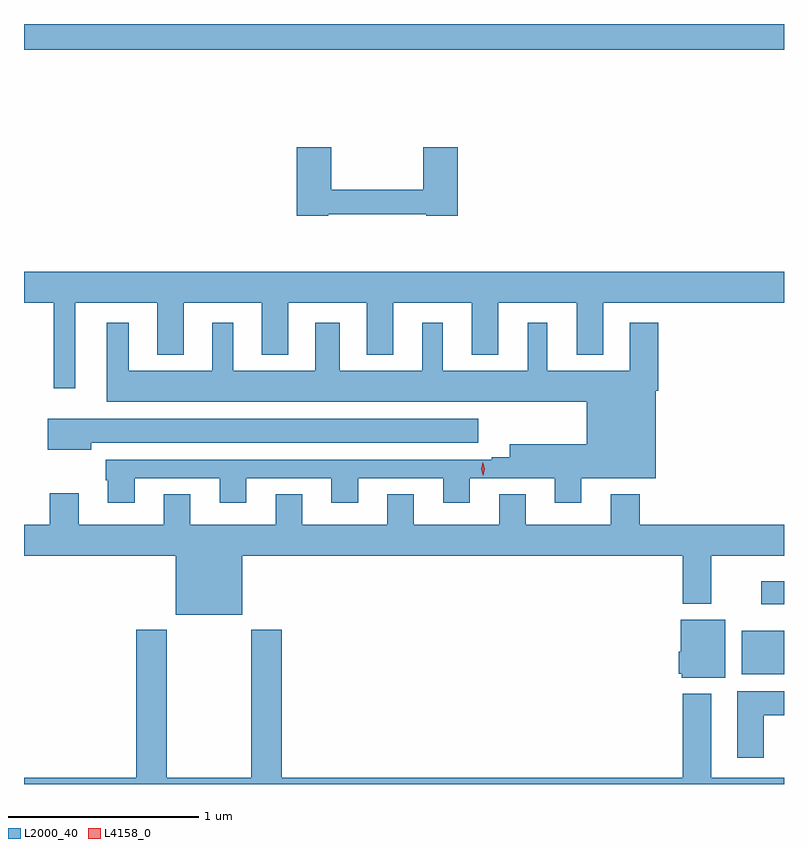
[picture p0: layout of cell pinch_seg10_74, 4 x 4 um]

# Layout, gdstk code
import gdstk
lib = gdstk.Library(unit=1e-6, precision=1e-09)
def R(c, l, rs):  # rectangles x0, y0, x1, y1
    for r in rs: c.add(gdstk.rectangle(r[:2], r[2:], *l))
def P(c, l, *ps):  # polygons
    for p in ps: c.add(gdstk.Polygon(p, *l))
L2000_40 = (2000, 40)
L4158_0 = (4158, 0)

pinch_seg10_74 = lib.new_cell('pinch_seg10_74')
R(pinch_seg10_74, L2000_40, [(816.359,1317.008,816.581,1317.238), (816.462,1317.377,816.581,1317.499), (812.581,1320.296,816.581,1320.431)])
P(pinch_seg10_74, L2000_40, [(814.182,1319.43),(814.698,1319.43),(814.698,1319.422),(814.865,1319.422),(814.865,1319.782),(814.682,1319.782),(814.682,1319.558),(814.199,1319.558),(814.199,1319.782),(814.016,1319.782),(814.016,1319.422),(814.182,1319.422)],
  [(812.851,1318.964),(813.281,1318.964),(813.281,1318.691),(813.421,1318.691),(813.421,1318.964),(813.833,1318.964),(813.833,1318.691),(813.973,1318.691),(813.973,1318.964),(814.385,1318.964),(814.385,1318.691),(814.525,1318.691),(814.525,1318.964),(814.937,1318.964),(814.937,1318.691),(815.077,1318.691),(815.077,1318.964),(815.489,1318.964),(815.489,1318.691),(815.629,1318.691),(815.629,1318.964),(816.581,1318.964),(816.581,1319.128),(812.581,1319.128),(812.581,1318.964),(812.737,1318.964),(812.737,1318.515),(812.851,1318.515)],
  [(813.163,1318.041),(813.611,1318.041),(813.611,1317.912),(813.751,1317.912),(813.751,1318.041),(814.199,1318.041),(814.199,1317.912),(814.339,1317.912),(814.339,1318.041),(814.787,1318.041),(814.787,1317.912),(814.927,1317.912),(814.927,1318.041),(815.375,1318.041),(815.375,1317.912),(815.515,1317.912),(815.515,1318.04),(815.905,1318.04),(815.905,1318.502),(815.918,1318.502),(815.918,1318.858),(815.768,1318.858),(815.768,1318.606),(815.335,1318.606),(815.335,1318.858),(815.231,1318.858),(815.231,1318.606),(814.786,1318.606),(814.786,1318.858),(814.676,1318.858),(814.676,1318.606),(814.243,1318.606),(814.243,1318.858),(814.115,1318.858),(814.115,1318.606),(813.682,1318.606),(813.682,1318.858),(813.572,1318.858),(813.572,1318.606),(813.133,1318.606),(813.133,1318.858),(813.017,1318.858),(813.017,1318.442),(815.543,1318.442),(815.543,1318.219),(815.138,1318.219),(815.138,1318.15),(815.042,1318.15),(815.042,1318.137),(813.011,1318.137),(813.011,1318.029),(813.023,1318.029),(813.023,1317.912),(813.163,1317.912)],
  [(812.935,1318.226),(814.972,1318.226),(814.972,1318.354),(812.706,1318.354),(812.706,1318.19),(812.935,1318.19)],
  [(813.73,1317.632),(816.047,1317.632),(816.047,1317.38),(816.199,1317.38),(816.199,1317.632),(816.581,1317.632),(816.581,1317.796),(815.822,1317.796),(815.822,1317.955),(815.669,1317.955),(815.669,1317.796),(815.221,1317.796),(815.221,1317.956),(815.081,1317.956),(815.081,1317.796),(814.633,1317.796),(814.633,1317.956),(814.493,1317.956),(814.493,1317.796),(814.045,1317.796),(814.045,1317.956),(813.905,1317.956),(813.905,1317.796),(813.457,1317.796),(813.457,1317.956),(813.317,1317.956),(813.317,1317.796),(812.869,1317.796),(812.869,1317.961),(812.717,1317.961),(812.717,1317.796),(812.581,1317.796),(812.581,1317.632),(813.38,1317.632),(813.38,1317.323),(813.73,1317.323)],
  [(816.271,1317.295),(816.038,1317.295),(816.038,1317.126),(816.026,1317.126),(816.026,1317.012),(816.042,1317.012),(816.042,1316.99),(816.271,1316.99)],
  [(816.581,1316.464),(816.199,1316.464),(816.199,1316.905),(816.047,1316.905),(816.047,1316.464),(813.938,1316.464),(813.938,1317.244),(813.778,1317.244),(813.778,1316.464),(813.333,1316.464),(813.333,1317.244),(813.173,1317.244),(813.173,1316.464),(812.581,1316.464),(812.581,1316.431),(816.581,1316.431)],
  [(816.475,1316.792),(816.581,1316.792),(816.581,1316.92),(816.335,1316.92),(816.335,1316.568),(816.475,1316.568)])
P(pinch_seg10_74, L4158_0, [(814.998,1318.053),(814.987,1318.088),(814.996,1318.124),(814.996,1318.124),(814.996,1318.124),(815.007,1318.089),(814.999,1318.053),(814.999,1318.053)])

lib.write_gds('pinch_seg10_74.gds')
